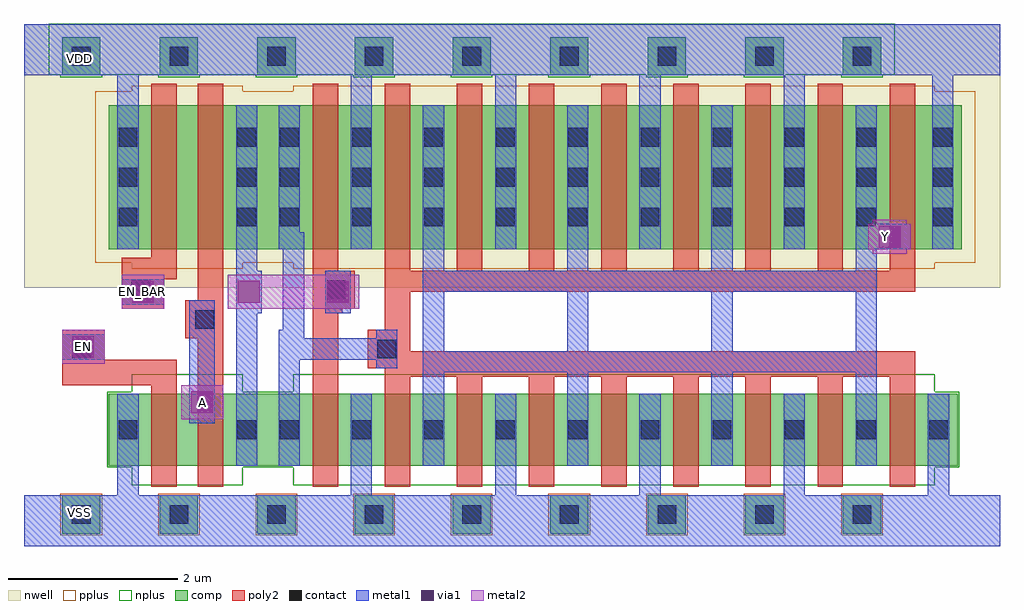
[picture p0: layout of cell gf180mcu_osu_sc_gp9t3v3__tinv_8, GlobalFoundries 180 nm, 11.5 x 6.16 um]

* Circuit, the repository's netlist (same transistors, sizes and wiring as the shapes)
* Copyright 2022 Google LLC
*
* Licensed under the Apache License, Version 2.0 (the "License");
* you may not use this file except in compliance with the License.
* You may obtain a copy of the License at
*
*      http://www.apache.org/licenses/LICENSE-2.0
*
* Unless required by applicable law or agreed to in writing, software
* distributed under the License is distributed on an "AS IS" BASIS,
* WITHOUT WARRANTIES OR CONDITIONS OF ANY KIND, either express or implied.
* See the License for the specific language governing permissions and
* limitations under the License.

.option scale=0.05u

.subckt gf180mcu_osu_sc_gp9t3v3__tinv_8 A Y EN EN_BAR
X0 Y a_47_19 VDD VDD pmos_3p3 w=34 l=6
X1 VDD a_47_19 Y VDD pmos_3p3 w=34 l=6
X2 a_36_19 EN VSS VSS nmos_3p3 w=17 l=6
X3 Y a_47_19 VSS VSS nmos_3p3 w=17 l=6
X4 a_36_70 EN_BAR VDD VDD pmos_3p3 w=34 l=6
X5 a_47_19 A a_36_19 VSS nmos_3p3 w=17 l=6
X6 VSS a_47_19 Y VSS nmos_3p3 w=17 l=6
X7 Y a_47_19 VDD VDD pmos_3p3 w=34 l=6
X8 a_47_19 A a_36_70 VDD pmos_3p3 w=34 l=6
X9 VSS a_47_19 a_47_19 VSS nmos_3p3 w=17 l=6
X10 VSS a_47_19 Y VSS nmos_3p3 w=17 l=6
X11 VDD a_47_19 Y VDD pmos_3p3 w=34 l=6
X12 VDD a_47_19 a_47_19 VDD pmos_3p3 w=34 l=6
X13 VDD a_47_19 Y VDD pmos_3p3 w=34 l=6
X14 VSS a_47_19 Y VSS nmos_3p3 w=17 l=6
X15 VDD a_47_19 Y VDD pmos_3p3 w=34 l=6
X16 Y a_47_19 VSS VSS nmos_3p3 w=17 l=6
X17 Y a_47_19 VSS VSS nmos_3p3 w=17 l=6
X18 Y a_47_19 VSS VSS nmos_3p3 w=17 l=6
X19 Y a_47_19 VDD VDD pmos_3p3 w=34 l=6
X20 Y a_47_19 VDD VDD pmos_3p3 w=34 l=6
X21 VSS a_47_19 Y VSS nmos_3p3 w=17 l=6
.ends

** hspice subcircuit dictionary

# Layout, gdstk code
import gdstk
lib = gdstk.Library(unit=1e-6, precision=1e-09)
def R(c, l, rs):  # rectangles x0, y0, x1, y1
    for r in rs: c.add(gdstk.rectangle(r[:2], r[2:], *l))
def A(c, l, x, y, w, h, nx, ny, dx, dy):  # array of equal rectangles
    R(c, l, [(x+i*dx, y+j*dy, x+i*dx+w, y+j*dy+h) for i in range(nx) for j in range(ny)])
nwell = (21, 0)
comp = (22, 0)
poly2 = (30, 0)
pplus = (31, 0)
nplus = (32, 0)
contact = (33, 0)
metal1 = (34, 0)
via1 = (35, 0)
metal2 = (36, 0)

gf180mcu_osu_sc_gp9t3v3_ = lib.new_cell('gf180mcu_osu_sc_gp9t3v3__tinv_8')
R(gf180mcu_osu_sc_gp9t3v3_, nwell, [(0,3.05,11.5,6.15)])
A(gf180mcu_osu_sc_gp9t3v3_, comp, 0.45, 0.15, 0.45, 0.45, 9, 2, 1.15, 5.4)
R(gf180mcu_osu_sc_gp9t3v3_, comp, [(1,0.95,11,1.8), (1,3.5,11.05,5.2)])
A(gf180mcu_osu_sc_gp9t3v3_, poly2, 4.25, 0.7, 0.3, 1.3, 8, 1, 0.85, 0)
A(gf180mcu_osu_sc_gp9t3v3_, poly2, 3.4, 3.25, 0.3, 2.2, 9, 1, 0.85, 0)
R(gf180mcu_osu_sc_gp9t3v3_, poly2, [(1.5,0.7,1.8,1.9), (2.05,0.7,2.35,2.45), (3.4,0.7,3.7,2.75), (0.45,1.9,1.8,2.2), (4.25,2,10.5,2.1), (4.05,2.1,10.5,2.3), (0.45,2.2,0.95,2.55), (4.05,2.3,4.55,2.55), (1.9,2.45,2.35,2.9), (4.25,2.55,4.55,3), (3.4,2.75,3.75,2.8), (1.15,2.8,1.65,3.15), (3.4,2.8,3.9,3.25), (2.05,2.9,2.35,5.45), (4.25,3,10.5,3.25), (1.15,3.15,1.8,3.4), (1.5,3.4,1.8,5.45)])
A(gf180mcu_osu_sc_gp9t3v3_, pplus, 0.43, 0.13, 0.49, 0.49, 9, 1, 1.15, 0)
R(gf180mcu_osu_sc_gp9t3v3_, pplus, [(1.27,3.27,2.58,3.34), (3.17,3.27,10.73,3.34), (0.84,3.34,11.21,5.36), (1.27,5.36,2.58,5.43), (3.17,5.36,10.73,5.43)])
A(gf180mcu_osu_sc_gp9t3v3_, nplus, 0.43, 5.53, 0.49, 0.03, 9, 1, 1.15, 0)
R(gf180mcu_osu_sc_gp9t3v3_, nplus, [(1.27,0.72,2.58,0.93), (3.17,0.72,10.73,0.93), (0.98,0.93,11.02,1.82), (1.27,1.82,2.58,2.03), (3.17,1.82,10.73,2.03), (0.29,5.56,10.26,6.16)])
A(gf180mcu_osu_sc_gp9t3v3_, contact, 0.565, 0.265, 0.22, 0.22, 9, 2, 1.15, 5.4)
A(gf180mcu_osu_sc_gp9t3v3_, contact, 3.015, 1.265, 0.22, 0.22, 10, 1, 0.85, 0)
A(gf180mcu_osu_sc_gp9t3v3_, contact, 1.115, 3.77, 0.22, 0.22, 1, 3, 0, 0.47)
A(gf180mcu_osu_sc_gp9t3v3_, contact, 2.515, 3.77, 0.22, 0.22, 1, 3, 0, 0.47)
A(gf180mcu_osu_sc_gp9t3v3_, contact, 3.015, 3.77, 0.22, 0.22, 9, 3, 0.85, 0.47)
A(gf180mcu_osu_sc_gp9t3v3_, contact, 10.715, 3.77, 0.22, 0.22, 1, 3, 0, 0.47)
R(gf180mcu_osu_sc_gp9t3v3_, contact, [(1.115,1.265,1.335,1.485), (2.515,1.265,2.735,1.485), (0.565,2.215,0.785,2.435), (4.165,2.215,4.385,2.435), (2.015,2.565,2.235,2.785), (1.265,2.915,1.485,3.135), (3.565,2.915,3.785,3.135)])
A(gf180mcu_osu_sc_gp9t3v3_, metal1, 3.85, 0.6, 0.25, 1.2, 5, 1, 1.7, 0)
A(gf180mcu_osu_sc_gp9t3v3_, metal1, 4.7, 0.95, 0.25, 1.1, 4, 1, 1.7, 0)
A(gf180mcu_osu_sc_gp9t3v3_, metal1, 4.7, 2.3, 0.25, 0.7, 4, 1, 1.7, 0)
A(gf180mcu_osu_sc_gp9t3v3_, metal1, 4.7, 3.25, 0.25, 1.95, 3, 1, 1.7, 0)
A(gf180mcu_osu_sc_gp9t3v3_, metal1, 3.85, 3.5, 0.25, 2.05, 4, 1, 1.7, 0)
R(gf180mcu_osu_sc_gp9t3v3_, metal1, [(0,0,11.5,0.6), (1.1,0.6,1.35,1.8), (2.5,0.95,2.75,2.75), (3,0.95,3.25,2.2), (1.95,1.45,2.25,2.9), (4.7,2.05,10.05,2.3), (4.15,2.1,4.4,2.2), (0.45,2.2,0.95,2.5), (3,2.2,4.4,2.45), (3,2.45,3.3,2.55), (4.15,2.45,4.4,2.55), (3.05,2.55,3.3,3.5), (2.5,2.75,2.8,3.25), (3.55,2.75,3.85,3.25), (1.15,2.85,1.65,3.15), (4.7,3,10.05,3.25), (2.5,3.25,2.75,5.2), (9.8,3.25,10.05,3.5), (1.1,3.5,1.35,5.55), (3,3.5,3.3,3.7), (9.8,3.5,10.45,3.8), (10.7,3.5,10.95,5.55), (3,3.7,3.25,5.2), (9.8,3.8,10.05,5.2), (0,5.55,11.5,6.15)])
R(gf180mcu_osu_sc_gp9t3v3_, via1, [(1.97,1.57,2.23,1.83), (0.57,2.22,0.83,2.48), (1.27,2.87,1.53,3.13), (2.52,2.87,2.78,3.13), (3.57,2.87,3.83,3.13), (10.07,3.52,10.33,3.78)])
R(gf180mcu_osu_sc_gp9t3v3_, metal2, [(1.85,1.5,2.35,1.9), (0.45,2.15,0.95,2.55), (1.15,2.8,1.65,3.2), (2.4,2.8,3.95,3.2), (10,3.45,10.4,3.5), (9.95,3.5,10.45,3.8), (10,3.8,10.4,3.85)])
gf180mcu_osu_sc_gp9t3v3_.add(gdstk.Label('VDD', (0.65,5.75), layer=34, texttype=0))
gf180mcu_osu_sc_gp9t3v3_.add(gdstk.Label('VSS', (0.65,0.4), layer=34, texttype=0))
gf180mcu_osu_sc_gp9t3v3_.add(gdstk.Label('A', (2.1,1.7), layer=36, texttype=10))
gf180mcu_osu_sc_gp9t3v3_.add(gdstk.Label('Y', (10.15,3.65), layer=36, texttype=10))
gf180mcu_osu_sc_gp9t3v3_.add(gdstk.Label('EN', (0.7,2.35), layer=36, texttype=10))
gf180mcu_osu_sc_gp9t3v3_.add(gdstk.Label('EN_BAR', (1.4,3), layer=36, texttype=10))

lib.write_gds('gf180mcu_osu_sc_gp9t3v3__tinv_8.gds')
